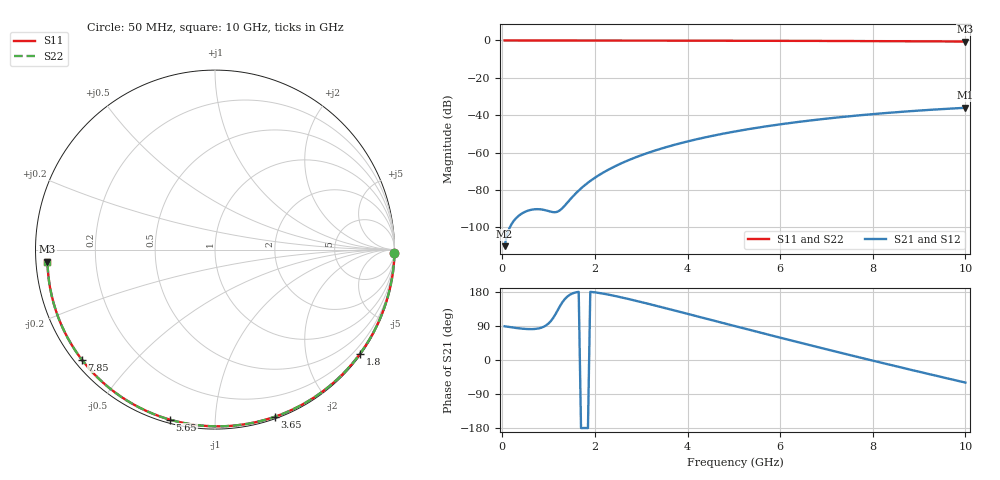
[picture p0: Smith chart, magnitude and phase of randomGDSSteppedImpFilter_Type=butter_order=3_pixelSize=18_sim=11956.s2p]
! freq	dB(S11)	phase(S11)	dB(S12)	phase(S12)
!  dB(S21)	phase(S21)	dB(S22)	phase(S22)
!S-par simulation data
#  GHz  S  DB  R 50
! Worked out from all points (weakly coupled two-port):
!   200 points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, 50 MHz to 10 GHz, reference 50 ohm
!   highest |S21| = -36.05 dB at 10 GHz (marker M1); lowest = -110.1 dB at 50 MHz (marker M2)
!   lowest |S11| = -0.6 dB at 10 GHz (marker M3), VSWR 30.09, Z = 1.66 - j1.79 ohm
!   |S11| at or under -10 dB: nowhere
!   |S22| runs from -0.6 to 0.0 dB; largest |S21 - S12| = 0
!   S11 on the Smith chart (normalised r, x): 50 MHz: open; 1.8 GHz: 0.03, -3.10; 3.65 GHz: 0.02, -1.42; 5.65 GHz: 0.02, -0.77; 7.85 GHz: 0.02, -0.36; 10 GHz: 0.03, -0.04
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0.05  -0.00 -1.0  -110.13 89.0  -110.13 89.0  -0.00 -1.0
0.45  -0.01 -9.1  -92.25 82.5  -92.25 82.5  -0.01 -9.1
0.85  -0.02 -17.1  -90.49 85.6  -90.49 85.6  -0.02 -17.1
1.65  -0.04 -32.9  -80.35 179.8  -80.35 179.8  -0.04 -32.9
1.75  -0.04 -34.8  -78.14 -179.4  -78.14 -179.4  -0.04 -34.8
1.8  -0.05 -35.8  -77.12 -179.4  -77.12 -179.4  -0.05 -35.8
1.95  -0.05 -38.7  -74.34 179.2  -74.34 179.2  -0.05 -38.7
2.1  -0.05 -41.6  -71.90 176.7  -71.90 176.7  -0.05 -41.6
2.45  -0.06 -48.2  -67.17 168.6  -67.17 168.6  -0.06 -48.2
2.9  -0.07 -56.7  -62.37 155.9  -62.37 155.9  -0.07 -56.7
3.4  -0.09 -65.9  -58.14 140.7  -58.14 140.7  -0.09 -65.9
3.65  -0.09 -70.4  -56.33 132.9  -56.33 132.9  -0.09 -70.4
4.35  -0.12 -82.8  -52.05 110.8  -52.05 110.8  -0.12 -82.8
5.05  -0.15 -94.8  -48.61 88.7  -48.61 88.7  -0.15 -94.8
5.65  -0.18 -104.9  -46.17 69.8  -46.17 69.8  -0.18 -104.9
6.15  -0.20 -113.1  -44.40 54.3  -44.40 54.3  -0.20 -113.1
6.7  -0.24 -122.0  -42.69 37.4  -42.69 37.4  -0.24 -122.0
7.3  -0.28 -131.6  -41.07 19.2  -41.07 19.2  -0.28 -131.7
7.85  -0.33 -140.5  -39.76 2.7  -39.76 2.7  -0.33 -140.5
8.35  -0.38 -148.5  -38.71 -12.0  -38.71 -12.0  -0.38 -148.5
9.2  -0.47 -162.4  -37.20 -36.8  -37.20 -36.8  -0.47 -162.4
10  -0.58 -175.9  -36.05 -59.6  -36.05 -59.6  -0.58 -175.9
